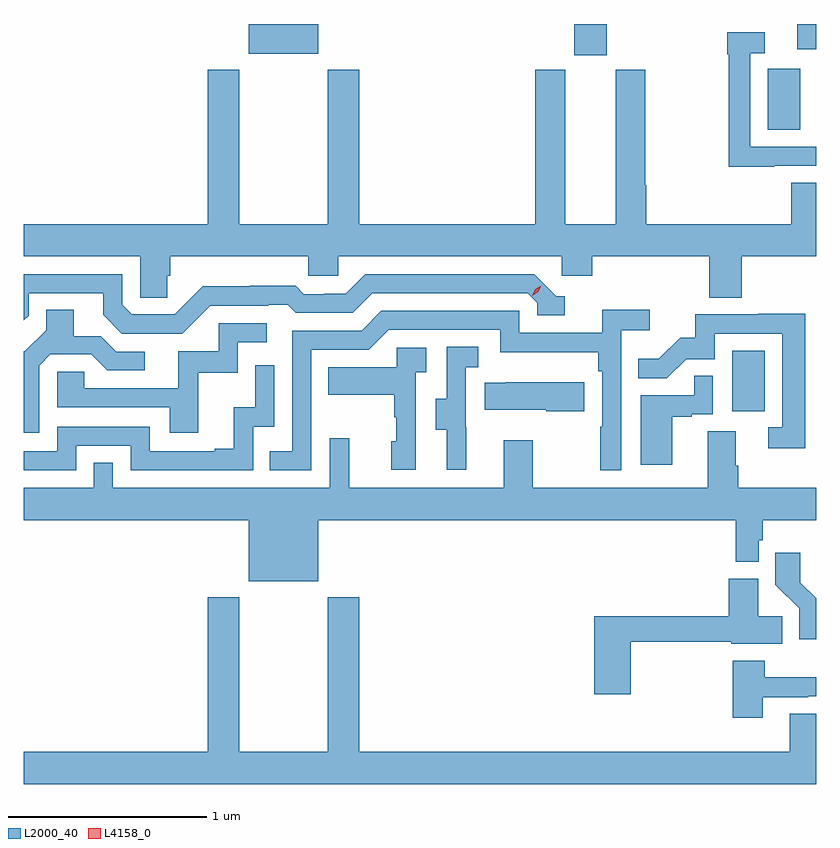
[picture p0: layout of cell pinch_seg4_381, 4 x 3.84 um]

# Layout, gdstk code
import gdstk
lib = gdstk.Library(unit=1e-6, precision=1e-09)
def R(c, l, rs):  # rectangles x0, y0, x1, y1
    for r in rs: c.add(gdstk.rectangle(r[:2], r[2:], *l))
def P(c, l, *ps):  # polygons
    for p in ps: c.add(gdstk.Polygon(p, *l))
L2000_40 = (2000, 40)
L4158_0 = (4158, 0)

pinch_seg4_381 = lib.new_cell('pinch_seg4_381')
R(pinch_seg4_381, L2000_40, [(990.758,788.046,990.922,788.353), (990.938,789.468,991.102,789.775), (989.96,789.843,990.124,790.002), (988.316,789.851,988.666,790.002), (991.085,789.874,991.181,790.002)])
P(pinch_seg4_381, L2000_40, [(990.971,789.285),(991.181,789.285),(991.181,789.381),(990.849,789.381),(990.849,789.855),(990.922,789.855),(990.922,789.961),(990.733,789.961),(990.733,789.848),(990.741,789.848),(990.741,789.28),(990.971,789.28)],
  [(987.905,788.73),(987.92,788.73),(987.92,788.828),(988.617,788.828),(988.617,788.73),(988.767,788.73),(988.767,788.828),(989.898,788.828),(989.898,788.73),(990.05,788.73),(990.05,788.828),(990.641,788.828),(990.641,788.62),(990.806,788.62),(990.806,788.828),(991.181,788.828),(991.181,789.2),(991.055,789.2),(991.055,788.992),(990.323,788.992),(990.323,789.188),(990.318,789.188),(990.318,789.771),(990.17,789.771),(990.17,788.992),(989.914,788.992),(989.914,789.771),(989.762,789.771),(989.762,788.992),(988.874,788.992),(988.874,789.772),(988.714,789.772),(988.714,788.992),(988.269,788.992),(988.269,789.772),(988.109,789.772),(988.109,788.992),(987.181,788.992),(987.181,788.828),(987.768,788.828),(987.768,788.62),(987.905,788.62)],
  [(988.122,788.58),(988.415,788.58),(988.415,788.583),(988.514,788.583),(988.553,788.544),(988.842,788.544),(988.941,788.643),(989.724,788.643),(989.772,788.595),(989.772,788.532),(989.911,788.532),(989.911,788.628),(989.868,788.628),(989.757,788.739),(988.904,788.739),(988.805,788.64),(988.698,788.64),(988.698,788.637),(988.595,788.637),(988.553,788.68),(988.32,788.68),(988.32,788.677),(988.084,788.677),(987.942,788.535),(987.726,788.535),(987.678,788.583),(987.678,788.739),(987.181,788.739),(987.181,788.506),(987.204,788.529),(987.204,788.643),(987.581,788.643),(987.581,788.533),(987.675,788.439),(987.981,788.439)],
  [(987.258,788.277),(987.315,788.334),(987.521,788.334),(987.602,788.253),(987.79,788.253),(987.79,788.346),(987.648,788.346),(987.568,788.426),(987.433,788.426),(987.433,788.558),(987.293,788.558),(987.293,788.456),(987.186,788.349),(987.181,788.349),(987.181,787.938),(987.258,787.938)],
  [(988.632,788.358),(988.923,788.358),(989.022,788.457),(989.586,788.457),(989.586,788.345),(990.082,788.345),(990.082,788.249),(990.102,788.249),(990.102,787.967),(990.09,787.967),(990.09,787.749),(990.198,787.749),(990.198,788.456),(990.34,788.456),(990.34,788.558),(990.101,788.558),(990.101,788.442),(989.682,788.442),(989.682,788.553),(988.985,788.553),(988.886,788.454),(988.536,788.454),(988.536,787.845),(988.423,787.845),(988.423,787.749),(988.632,787.749)],
  [(991.127,788.54),(990.889,788.54),(990.889,788.535),(990.571,788.535),(990.571,788.418),(990.494,788.418),(990.387,788.311),(990.283,788.311),(990.283,788.212),(990.427,788.212),(990.525,788.31),(990.669,788.31),(990.669,788.439),(991.011,788.439),(991.011,787.965),(990.939,787.965),(990.939,787.86),(991.127,787.86)],
  [(988.061,788.241),(988.26,788.241),(988.26,788.394),(988.408,788.394),(988.408,788.49),(988.164,788.49),(988.164,788.349),(987.959,788.349),(987.959,788.163),(987.485,788.163),(987.485,788.247),(987.348,788.247),(987.348,788.067),(987.917,788.067),(987.917,787.938),(988.061,787.938)],
  [(989.414,787.965),(989.412,787.965),(989.412,788.269),(989.476,788.269),(989.476,788.372),(989.316,788.372),(989.316,788.109),(989.261,788.109),(989.261,787.954),(989.315,787.954),(989.315,787.752),(989.414,787.752)],
  [(989.16,788.243),(989.212,788.243),(989.212,788.367),(989.064,788.367),(989.064,788.269),(988.717,788.269),(988.717,788.129),(989.052,788.129),(989.052,788.015),(989.062,788.015),(989.062,787.896),(989.036,787.896),(989.036,787.752),(989.16,787.752)],
  [(987.444,787.872),(987.72,787.872),(987.72,787.749),(988.338,787.749),(988.338,787.968),(988.446,787.968),(988.446,788.278),(988.35,788.278),(988.35,788.066),(988.241,788.066),(988.241,787.858),(988.145,787.858),(988.145,787.845),(987.816,787.845),(987.816,787.968),(987.348,787.968),(987.348,787.845),(987.181,787.845),(987.181,787.749),(987.444,787.749)],
  [(990.454,788.019),(990.554,788.019),(990.554,788.031),(990.66,788.031),(990.66,788.225),(990.565,788.225),(990.565,788.127),(990.296,788.127),(990.296,787.776),(990.454,787.776)],
  [(990.01,788.194),(989.617,788.194),(989.617,788.191),(989.509,788.191),(989.509,788.054),(989.819,788.054),(989.819,788.047),(990.01,788.047)],
  [(990.775,787.286),(990.891,787.286),(990.891,787.395),(990.911,787.395),(990.911,787.496),(991.181,787.496),(991.181,787.66),(990.788,787.66),(990.788,787.772),(990.775,787.772),(990.775,787.946),(990.635,787.946),(990.635,787.66),(989.751,787.66),(989.751,787.9),(989.603,787.9),(989.603,787.66),(988.823,787.66),(988.823,787.909),(988.725,787.909),(988.725,787.66),(987.63,787.66),(987.63,787.787),(987.534,787.787),(987.534,787.66),(987.181,787.66),(987.181,787.496),(988.316,787.496),(988.316,787.187),(988.666,787.187),(988.666,787.496),(990.775,787.496)],
  [(991.181,787.102),(991.102,787.181),(991.102,787.333),(990.976,787.333),(990.976,787.17),(991.095,787.051),(991.095,786.896),(991.181,786.896)],
  [(990.245,786.883),(990.752,786.883),(990.752,786.872),(991.01,786.872),(991.01,787.01),(990.889,787.01),(990.889,787.201),(990.74,787.201),(990.74,787.012),(990.062,787.012),(990.062,786.618),(990.245,786.618)],
  [(991.181,786.518),(991.049,786.518),(991.049,786.328),(988.874,786.328),(988.874,787.108),(988.714,787.108),(988.714,786.328),(988.269,786.328),(988.269,787.108),(988.109,787.108),(988.109,786.328),(987.181,786.328),(987.181,786.164),(991.181,786.164)],
  [(990.913,786.603),(991.142,786.603),(991.142,786.606),(991.181,786.606),(991.181,786.703),(990.921,786.703),(990.921,786.787),(990.761,786.787),(990.761,786.498),(990.913,786.498)])
P(pinch_seg4_381, L4158_0, [(989.747,788.63),(989.747,788.631),(989.763,788.663),(989.794,788.681),(989.794,788.681),(989.794,788.681),(989.778,788.649),(989.748,788.63)])

lib.write_gds('pinch_seg4_381.gds')
